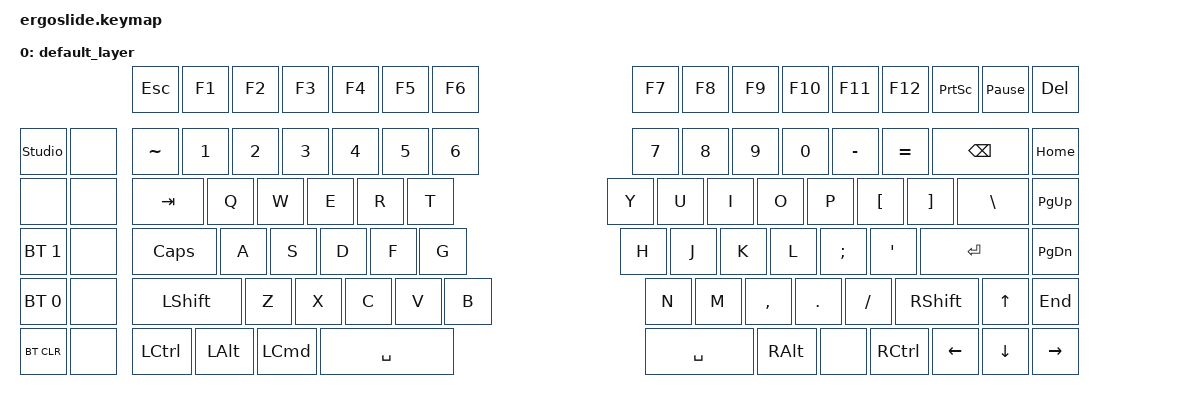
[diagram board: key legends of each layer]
#include <behaviors.dtsi>
#include <dt-bindings/zmk/keys.h>
#include <dt-bindings/zmk/bt.h>
#include <dt-bindings/zmk/ext_power.h>

/ {
    keymap {
        compatible = "zmk,keymap";

        default_layer {
            bindings = <
                                        &kp ESC     &kp F1      &kp F2      &kp F3     &kp F4  &kp F5  &kp F6               &kp F7    &kp F8   &kp F9    &kp F10   &kp F11  &kp F12     &kp PSCRN  &kp PAUSE_BREAK &kp DEL
                // M1           // M2
                &studio_unlock  &none   &kp TILDE   &kp N1      &kp N2      &kp N3     &kp N4  &kp N5  &kp N6               &kp N7    &kp N8   &kp N9    &kp N0    &kp MINUS &kp EQUAL             &kp BACKSPACE   &kp HOME
                &none           &none   &kp TAB     &kp Q       &kp W       &kp E      &kp R   &kp T                        &kp Y     &kp U    &kp I     &kp O     &kp P     &kp LBKT   &kp RBKT   &kp BSLH        &kp PG_UP
                &bt BT_SEL 1    &none   &kp CAPS    &kp A       &kp S       &kp D      &kp F   &kp G                        &kp H     &kp J    &kp K     &kp L     &kp SEMI  &kp APOS              &kp ENTER       &kp PG_DN
                &bt BT_SEL 0    &none   &kp LSHIFT  &kp Z       &kp X       &kp C      &kp V   &kp B                                  &kp N    &kp M     &kp COMMA &kp DOT   &kp FSLH   &kp RSHIFT &kp UP          &kp END
                &bt BT_CLR      &none   &kp LCTRL   &kp LALT    &kp LCMD    &kp SPACE                                                          &kp SPACE &kp RALT  &none     &kp RCTRL  &kp LEFT   &kp DOWN        &kp RIGHT
            >;
        };
    };
 };
